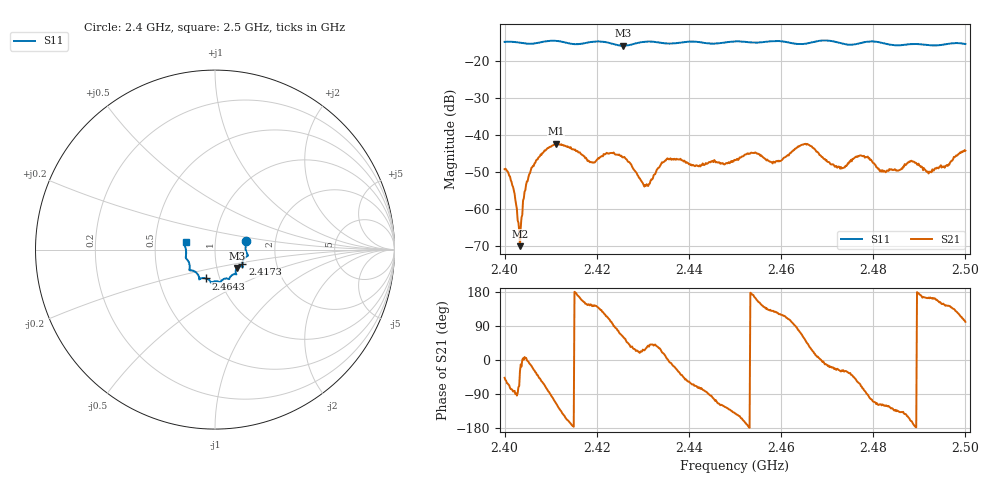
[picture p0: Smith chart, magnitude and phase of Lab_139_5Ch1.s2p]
# Hz S RI R 50
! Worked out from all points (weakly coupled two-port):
!   601 points, 2.4 GHz to 2.5 GHz, reference 50 ohm
!   highest |S21| = -42.40 dB at 2.4112 GHz (marker M1); lowest = -70.0 dB at 2.4033 GHz (marker M2)
!   lowest |S11| = -15.9 dB at 2.4257 GHz (marker M3), VSWR 1.38, Z = 62.4 - j13.1 ohm
!   |S11| at or under -10 dB: start of sweep to end of sweep
!   S12 and S22 are empty: the file has one direction only
!   S11 on the Smith chart (normalised r, x): 2.4 GHz: 1.41, +0.14; 2.4173 GHz: 1.34, -0.23; 2.4643 GHz: 0.86, -0.28; 2.5 GHz: 0.72, +0.06
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2.4e9  0.1736 0.0495  0.00236 -0.00252  0 0  0 0
2.401667e9  0.1755 0.0429  0.000412 -0.00205  0 0  0 0
2.403333e9  0.173 0.0318  0.000274 -0.000155  0 0  0 0
2.4045e9  0.1704 0.0193  0.00179 0.000163  0 0  0 0
2.405667e9  0.1699 0.00514  0.00322 -0.000746  0 0  0 0
2.411167e9  0.1831 -0.0346  -0.00315 -0.0069  0 0  0 0
2.416667e9  0.1528 -0.0745  -0.0051 0.00197  0 0  0 0
2.417333e9  0.1524 -0.0819  -0.00455 0.00238  0 0  0 0
2.425667e9  0.1225 -0.1023  0.00234 0.00438  0 0  0 0
2.430667e9  0.119 -0.1377  0.00177 0.00105  0 0  0 0
2.433333e9  0.1129 -0.1367  0.00298 0.00199  0 0  0 0
2.45e9  0.0296 -0.1809  -0.00358 -0.0029  0 0  0 0
2.454e9  0.0101 -0.1761  -0.00565 0.000897  0 0  0 0
2.4585e9  -0.0203 -0.1839  -0.00259 0.00344  0 0  0 0
2.464333e9  -0.0501 -0.1606  0.00256 0.00683  0 0  0 0
2.466667e9  -0.0763 -0.16  0.00624 0.00315  0 0  0 0
2.472333e9  -0.0886 -0.1532  0.00336 -0.00152  0 0  0 0
2.4775e9  -0.1312 -0.1161  0.00177 -0.00493  0 0  0 0
2.483333e9  -0.1407 -0.0895  -0.00169 -0.0028  0 0  0 0
2.488333e9  -0.1613 -0.0494  -0.00425 -0.00142  0 0  0 0
2.492167e9  -0.1609 -0.0235  -0.00299 0.000921  0 0  0 0
2.5e9  -0.1635 0.0421  -0.00113 0.00603  0 0  0 0
